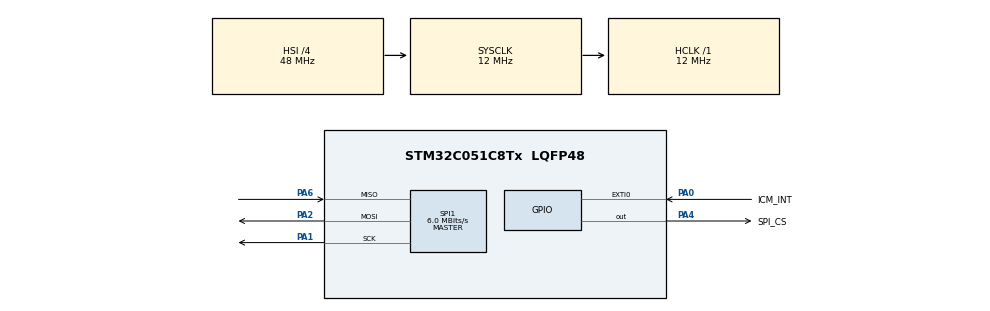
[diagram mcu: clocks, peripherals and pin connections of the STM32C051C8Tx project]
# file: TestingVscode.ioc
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Mcu.Family=STM32C0
Mcu.Name=STM32C051C8Tx
Mcu.Package=LQFP48
NVIC.EXTI0_1_IRQn=true\:0\:0\:false\:false\:true\:true\:true\:true
PA0.GPIO_Label=ICM_INT
PA0.Signal=GPXTI0
PA1.Mode=Full_Duplex_Master
PA1.Signal=SPI1_SCK
PA2.Mode=Full_Duplex_Master
PA2.Signal=SPI1_MOSI
PA4.GPIO_Label=SPI_CS
PA4.PinState=GPIO_PIN_SET
PA4.Signal=GPIO_Output
PA6.Mode=Full_Duplex_Master
PA6.Signal=SPI1_MISO
ProjectManager.HeapSize=0x200
ProjectManager.StackSize=0x400
ProjectManager.TargetToolchain=CMake
RCC.ADCFreq_Value=12000000
RCC.AHBFreq_Value=12000000
RCC.CortexFreq_Value=12000000
RCC.EXTERNAL_CLOCK_VALUE=12288000
RCC.HCLKFreq_Value=12000000
RCC.HSE_VALUE=8000000
RCC.HSI_VALUE=48000000
RCC.LSE_VALUE=32768
RCC.SYSCLKFreq_VALUE=12000000
SPI1.BaudRatePrescaler=SPI_BAUDRATEPRESCALER_2
SPI1.CLKPhase=SPI_PHASE_1EDGE
SPI1.CLKPolarity=SPI_POLARITY_LOW
SPI1.CalculateBaudRate=6.0 MBits/s
SPI1.DataSize=SPI_DATASIZE_8BIT
SPI1.Direction=SPI_DIRECTION_2LINES
SPI1.Mode=SPI_MODE_MASTER
SPI1.VirtualType=VM_MASTER
board=custom

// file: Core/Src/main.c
/* USER CODE BEGIN Header */
/**
  ******************************************************************************
  * @file           : main.c
  * @brief          : Main program body
  ******************************************************************************
  * @attention
  *
  * Copyright (c) 2026 STMicroelectronics.
  * All rights reserved.
  *
  * This software is licensed under terms that can be found in the LICENSE file
  * in the root directory of this software component.
  * If no LICENSE file comes with this software, it is provided AS-IS.
  *
  ******************************************************************************
  */
/* USER CODE END Header */
#include "main.h"

/* USER CODE BEGIN Includes */
#include <stdio.h>
#include <string.h>
/* USER CODE END Includes */

/* USER CODE BEGIN PD */
#define ICM_CS_LOW()  HAL_GPIO_WritePin(SPI_CS_GPIO_Port, SPI_CS_Pin, GPIO_PIN_RESET)
#define ICM_CS_HIGH() HAL_GPIO_WritePin(SPI_CS_GPIO_Port, SPI_CS_Pin, GPIO_PIN_SET)
/* USER CODE END PD */

SPI_HandleTypeDef hspi1;

/* USER CODE BEGIN PV */
volatile uint8_t icm_data_ready_flag = 0;

int16_t accel_raw[3]; // X, Y, Z
int16_t gyro_raw[3];  // X, Y, Z
/* USER CODE END PV */

void SystemClock_Config(void);
static void MX_GPIO_Init(void);
static void MX_SPI1_Init(void);
/* USER CODE BEGIN PFP */
void ICM_WriteRegister(uint8_t reg, uint8_t value);
uint8_t ICM_ReadRegister(uint8_t reg);
void ICM_ReadAccelGyro(int16_t *accel, int16_t *gyro);
/* USER CODE END PFP */

int main(void)
{

  /* MCU Configuration--------------------------------------------------------*/

  /* Reset of all peripherals, Initializes the Flash interface and the Systick. */
  HAL_Init();

  /* Configure the system clock */
  SystemClock_Config();

  /* Initialize all configured peripherals */
  MX_GPIO_Init();
  MX_SPI1_Init();

  /* USER CODE BEGIN 2 */
  // Garante pino CS desativado em nível alto
  ICM_CS_HIGH();
  HAL_Delay(10);

  // Teste de comunicação (Leitura do WHO_AM_I = 0xEA)
  uint8_t who_am_i = ICM_ReadRegister(0x00);

  if (who_am_i == 0xEA) {
      // 1. Acorda o sensor (remove do modo Sleep no PWR_MGMT_1)
      ICM_WriteRegister(0x06, 0x01);
      HAL_Delay(10);

      // 2. Ativa interrupção de Raw Data Ready (INT_ENABLE_1)
      ICM_WriteRegister(0x11, 0x01);
  }
  /* USER CODE END 2 */

  /* Infinite loop */
  /* USER CODE BEGIN WHILE */
  while (1)
  {
    if (icm_data_ready_flag)
    {
      icm_data_ready_flag = 0;

      // Leitura contínua dos 6 eixos (12 bytes via SPI)
      ICM_ReadAccelGyro(accel_raw, gyro_raw);

      // Aqui os dados brutas estão prontos em:
      // accel_raw[0] (X), accel_raw[1] (Y), accel_raw[2] (Z)
      // gyro_raw[0]  (X), gyro_raw[1]  (Y), gyro_raw[2]  (Z)
    }
    /* USER CODE END WHILE */

  }
}

void SystemClock_Config(void)
{
  RCC_OscInitTypeDef RCC_OscInitStruct = {0};
  RCC_ClkInitTypeDef RCC_ClkInitStruct = {0};

  __HAL_FLASH_SET_LATENCY(FLASH_LATENCY_0);

  /** Initializes the RCC Oscillators according to the specified parameters
  * in the RCC_OscInitTypeDef structure.
  */
  RCC_OscInitStruct.OscillatorType = RCC_OSCILLATORTYPE_HSI;
  RCC_OscInitStruct.HSIState = RCC_HSI_ON;
  RCC_OscInitStruct.HSIDiv = RCC_HSI_DIV4;
  RCC_OscInitStruct.HSICalibrationValue = RCC_HSICALIBRATION_DEFAULT;
  if (HAL_RCC_OscConfig(&RCC_OscInitStruct) != HAL_OK)
  {
    Error_Handler();
  }

  /** Initializes the CPU, AHB and APB buses clocks
  */
  RCC_ClkInitStruct.ClockType = RCC_CLOCKTYPE_HCLK|RCC_CLOCKTYPE_SYSCLK
                              |RCC_CLOCKTYPE_PCLK1;
  RCC_ClkInitStruct.SYSCLKSource = RCC_SYSCLKSOURCE_HSI;
  RCC_ClkInitStruct.SYSCLKDivider = RCC_SYSCLK_DIV1;
  RCC_ClkInitStruct.AHBCLKDivider = RCC_HCLK_DIV1;
  RCC_ClkInitStruct.APB1CLKDivider = RCC_APB1_DIV1;

  if (HAL_RCC_ClockConfig(&RCC_ClkInitStruct, FLASH_LATENCY_0) != HAL_OK)
  {
    Error_Handler();
  }
}

static void MX_SPI1_Init(void)
{

  /* SPI1 parameter configuration*/
  hspi1.Instance = SPI1;
  hspi1.Init.Mode = SPI_MODE_MASTER;
  hspi1.Init.Direction = SPI_DIRECTION_2LINES;
  hspi1.Init.DataSize = SPI_DATASIZE_8BIT;
  hspi1.Init.CLKPolarity = SPI_POLARITY_LOW;
  hspi1.Init.CLKPhase = SPI_PHASE_1EDGE;
  hspi1.Init.NSS = SPI_NSS_SOFT;
  hspi1.Init.BaudRatePrescaler = SPI_BAUDRATEPRESCALER_2;
  hspi1.Init.FirstBit = SPI_FIRSTBIT_MSB;
  hspi1.Init.TIMode = SPI_TIMODE_DISABLE;
  hspi1.Init.CRCCalculation = SPI_CRCCALCULATION_DISABLE;
  hspi1.Init.CRCPolynomial = 7;
  hspi1.Init.CRCLength = SPI_CRC_LENGTH_DATASIZE;
  hspi1.Init.NSSPMode = SPI_NSS_PULSE_ENABLE;
  if (HAL_SPI_Init(&hspi1) != HAL_OK)
  {
    Error_Handler();
  }

}

static void MX_GPIO_Init(void)
{
  GPIO_InitTypeDef GPIO_InitStruct = {0};

  /* GPIO Ports Clock Enable */
  __HAL_RCC_GPIOA_CLK_ENABLE();

  /*Configure GPIO pin Output Level */
  HAL_GPIO_WritePin(SPI_CS_GPIO_Port, SPI_CS_Pin, GPIO_PIN_SET);

  /*Configure GPIO pin : ICM_INT_Pin */
  GPIO_InitStruct.Pin = ICM_INT_Pin;
  GPIO_InitStruct.Mode = GPIO_MODE_IT_RISING;
  GPIO_InitStruct.Pull = GPIO_NOPULL;
  HAL_GPIO_Init(ICM_INT_GPIO_Port, &GPIO_InitStruct);

  /*Configure GPIO pin : SPI_CS_Pin */
  GPIO_InitStruct.Pin = SPI_CS_Pin;
  GPIO_InitStruct.Mode = GPIO_MODE_OUTPUT_PP;
  GPIO_InitStruct.Pull = GPIO_NOPULL;
  GPIO_InitStruct.Speed = GPIO_SPEED_FREQ_LOW;
  HAL_GPIO_Init(SPI_CS_GPIO_Port, &GPIO_InitStruct);

  /* EXTI interrupt init*/
  HAL_NVIC_SetPriority(EXTI0_1_IRQn, 0, 0);
  HAL_NVIC_EnableIRQ(EXTI0_1_IRQn);

}

/* USER CODE BEGIN 4 */
void ICM_WriteRegister(uint8_t reg, uint8_t value) {
    uint8_t data[2] = { reg & 0x7F, value };
    ICM_CS_LOW();
    HAL_SPI_Transmit(&hspi1, data, 2, HAL_MAX_DELAY);
    ICM_CS_HIGH();
}

uint8_t ICM_ReadRegister(uint8_t reg) {
    uint8_t txData[2] = { reg | 0x80, 0x00 };
    uint8_t rxData[2] = { 0 };

    ICM_CS_LOW();
    HAL_SPI_TransmitReceive(&hspi1, txData, rxData, 2, HAL_MAX_DELAY);
    ICM_CS_HIGH();

    return rxData[1];
}

// Lê os 12 bytes brutos dos registradores ACCEL_XOUT_H até GYRO_ZOUT_L (0x2D a 0x38 no Bank 0)
void ICM_ReadAccelGyro(int16_t *accel, int16_t *gyro) {
    uint8_t txBuf[13] = { 0 };
    uint8_t rxBuf[13] = { 0 };

    txBuf[0] = 0x2D | 0x80; // Endereço de leitura ACCEL_XOUT_H com bit de leitura ativado

    ICM_CS_LOW();
    HAL_SPI_TransmitReceive(&hspi1, txBuf, rxBuf, 13, HAL_MAX_DELAY);
    ICM_CS_HIGH();

    // Recompõe os inteiros de 16 bits (MSB << 8 | LSB)
    accel[0] = (int16_t)((rxBuf[1]  << 8) | rxBuf[2]);  // Accel X
    accel[1] = (int16_t)((rxBuf[3]  << 8) | rxBuf[4]);  // Accel Y
    accel[2] = (int16_t)((rxBuf[5]  << 8) | rxBuf[6]);  // Accel Z

    gyro[0]  = (int16_t)((rxBuf[7]  << 8) | rxBuf[8]);  // Gyro X
    gyro[1]  = (int16_t)((rxBuf[9]  << 8) | rxBuf[10]); // Gyro Y
    gyro[2]  = (int16_t)((rxBuf[11] << 8) | rxBuf[12]); // Gyro Z
}

// Callback do pino EXTI (PA0 / ICM_INT)
void HAL_GPIO_EXTI_Callback(uint16_t GPIO_Pin)
{
    if (GPIO_Pin == ICM_INT_Pin)
    {
        icm_data_ready_flag = 1;
    }
}
/* USER CODE END 4 */

void Error_Handler(void)
{
  __disable_irq();
  while (1)
  {
  }
}
